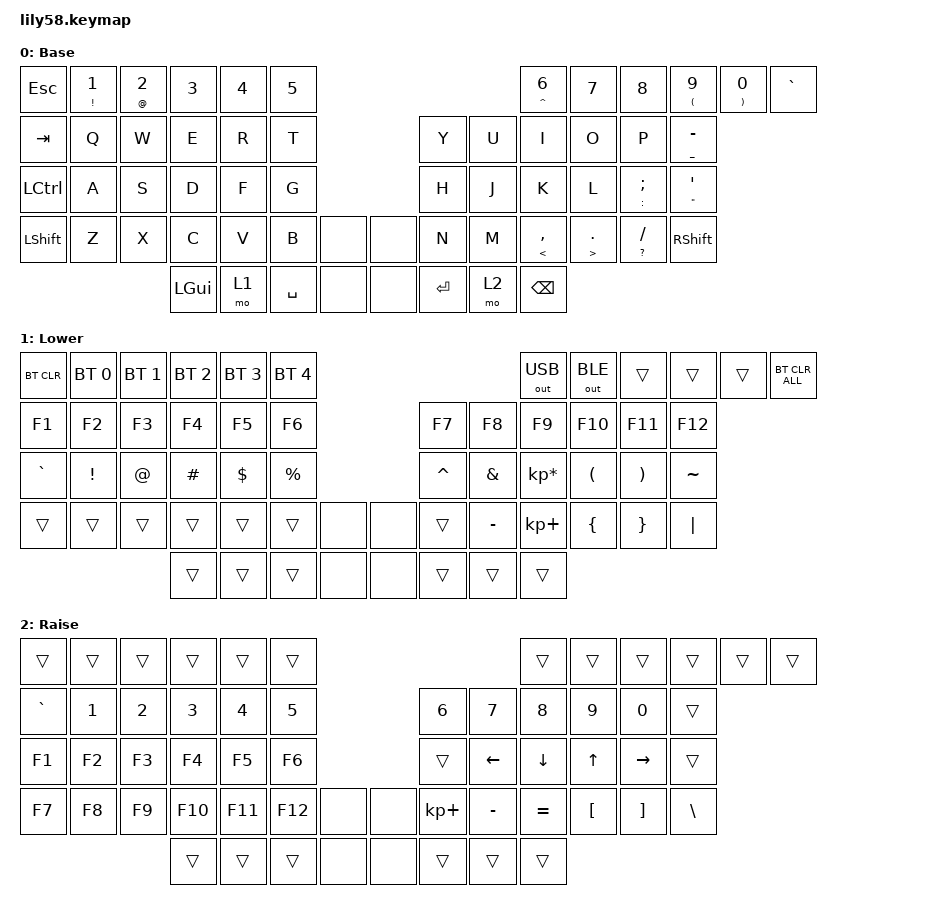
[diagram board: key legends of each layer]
/*
 * Copyright (c) 2020 The ZMK Contributors
 *
 * SPDX-License-Identifier: MIT
 */

#include <behaviors.dtsi>
#include <dt-bindings/zmk/keys.h>
#include <dt-bindings/zmk/bt.h>
#include <dt-bindings/zmk/ext_power.h>
#include <dt-bindings/zmk/outputs.h>

/ {
    behaviors {
        // 长按 250ms = shift 版本 (ZMK hold-tap 参数顺序: 第一个=长按, 第二个=点按)
        shift_hold: shift_hold {
            compatible = "zmk,behavior-hold-tap";
            label = "SHIFT_HOLD";
            #binding-cells = <2>;
            flavor = "tap-preferred";
            tapping-term-ms = <250>;
            bindings = <&kp>, <&kp>;
        };
    };

    keymap {
        compatible = "zmk,keymap";

        default_layer {
// ------------------------------------------------------------------------------------------------------------
// |  ESC  |  1  |  2  |  3   |  4   |  5   |                   |  6   |  7    |  8    |  9   |   0   |   `   |
// |  TAB  |  Q  |  W  |  E   |  R   |  T   |                   |  Y   |  U    |  I    |  O   |   P   |   -   |
// |  CTRL |  A  |  S  |  D   |  F   |  G   |                   |  H   |  J    |  K    |  L   |   ;   |   '   |
// | SHIFT |  Z  |  X  |  C   |  V   |  B   |  n/a   |  |  n/a  |  N   |  M    |  ,    |  .   |   /   | SHIFT |
//                     | GUI  | LOWER| SPACE|  n/a   |  |  n/a  | ENTER| RAISE | BSPC  |
// Note: Silakka54 has 54 keys - the 4 positions marked n/a are not present (inner thumb + encoder positions)
            display-name = "Base";
            bindings = <
&kp ESC   &shift_hold EXCL N1 &shift_hold AT N2 &kp N3   &kp N4 &kp N5                     &shift_hold CARET N6 &kp N7   &kp N8    &shift_hold LPAR N9 &shift_hold RPAR N0 &kp GRAVE
&kp TAB   &kp Q  &kp W  &kp E    &kp R  &kp T                      &kp Y   &kp U    &kp I     &kp O   &kp P    &shift_hold UNDER MINUS
&kp LCTRL &kp A  &kp S  &kp D    &kp F  &kp G                      &kp H   &kp J    &kp K     &kp L   &shift_hold COLON SEMI &shift_hold DQT SQT
&kp LSHFT &kp Z  &kp X  &kp C    &kp V  &kp B  &none     &none     &kp N   &kp M    &shift_hold LT COMMA &shift_hold GT DOT &shift_hold QUESTION FSLH &kp RSHFT
                        &kp LGUI &mo 1  &kp SPACE &none  &none     &kp RET &mo 2    &kp BSPC
            >;
        };

        lower_layer {
// ------------------------------------------------------------------------------------------------------------
// | BTCLR | BT1 | BT2 |  BT3 |  BT4 |  BT5 |                   | USB  | BLE   |       |      |       |BTCLRALL|
// |  F1   |  F2 |  F3 |  F4  |  F5  |  F6  |                   |  F7  |  F8   |  F9   |  F10 |  F11  |  F12  |
// |   `   |  !  |  @  |  #   |  $   |  %   |                   |  ^   |  &    |  *    |  (   |   )   |   ~   |
// |       |     |     |      |      |      |  n/a   |  |  n/a  |      |  _    |  +    |  {   |   }   |  "|"  |
//                     |      |      |      |  n/a   |  |  n/a  |      |       |       |
            display-name = "Lower";
            bindings = <
&bt BT_CLR &bt BT_SEL 0 &bt BT_SEL 1 &bt BT_SEL 2 &bt BT_SEL 3 &bt BT_SEL 4                 &out OUT_USB &out OUT_BLE &trans          &trans   &trans   &bt BT_CLR_ALL
&kp F1     &kp F2       &kp F3       &kp F4       &kp F5       &kp F6                       &kp F7       &kp F8       &kp F9          &kp F10  &kp F11  &kp F12
&kp GRAVE  &kp EXCL     &kp AT       &kp HASH     &kp DOLLAR   &kp PRCNT                    &kp CARET    &kp AMPS     &kp KP_MULTIPLY &kp LPAR &kp RPAR &kp TILDE
&trans     &trans       &trans       &trans       &trans       &trans    &none     &none   &trans       &kp MINUS    &kp KP_PLUS     &kp LBRC &kp RBRC &kp PIPE
                                     &trans       &trans       &trans    &none     &none   &trans       &trans       &trans
            >;
        };

        raise_layer {
// ------------------------------------------------------------------------------------------------------------
// |       |     |     |      |      |      |                   |      |       |       |      |       |       |
// |   `   |  1  |  2  |  3   |  4   |  5   |                   |  6   |   7   |   8   |  9   |   0   |       |
// |   F1  |  F2 |  F3 |  F4  |  F5  |  F6  |                   |      |   <-  |   v   |  ^   |  ->   |       |
// |   F7  |  F8 |  F9 |  F10 |  F11 |  F12 |  n/a   |  |  n/a  |  +   |   -   |   =   |  [   |   ]   |   \   |
//                     |      |      |      |  n/a   |  |  n/a  |      |       |       |
            display-name = "Raise";
            bindings = <
&trans    &trans &trans &trans  &trans  &trans                       &trans      &trans    &trans    &trans   &trans    &trans
&kp GRAVE &kp N1 &kp N2 &kp N3  &kp N4  &kp N5                       &kp N6      &kp N7    &kp N8    &kp N9   &kp N0    &trans
&kp F1    &kp F2 &kp F3 &kp F4  &kp F5  &kp F6                       &trans      &kp LEFT  &kp DOWN  &kp UP   &kp RIGHT &trans
&kp F7    &kp F8 &kp F9 &kp F10 &kp F11 &kp F12   &none     &none    &kp KP_PLUS &kp MINUS &kp EQUAL &kp LBKT &kp RBKT  &kp BSLH
                        &trans  &trans  &trans    &none     &none    &trans      &trans    &trans
            >;
        };

        extra_1 {
            status = "reserved";
        };

        extra_2 {
            status = "reserved";
        };

        extra_3 {
            status = "reserved";
        };
    };

    combos {
        compatible = "zmk,combos";

        // ENTER
        combo_0 {
            timeout-ms = <50>;
            key-positions = <22 23>;
            bindings = <&kp RET>;
        };

        // ` GRAVE
        combo_1 {
            timeout-ms = <50>;
            key-positions = <0 1>;
            bindings = <&kp GRAVE>;
        };

        // = EQUAL
        combo_2 {
            timeout-ms = <50>;
            key-positions = <9 10>;
            bindings = <&kp EQUAL>;
        };

        // ↑ UP
        combo_3 {
            timeout-ms = <50>;
            key-positions = <20 21>;
            bindings = <&kp UP>;
        };

        // ← LEFT
        combo_4 {
            timeout-ms = <50>;
            key-positions = <31 32>;
            bindings = <&kp LEFT>;
        };

        // → RIGHT
        combo_5 {
            timeout-ms = <50>;
            key-positions = <32 33>;
            bindings = <&kp RIGHT>;
        };

        // ↓ DOWN
        combo_6 {
            timeout-ms = <50>;
            key-positions = <46 47>;
            bindings = <&kp DOWN>;
        };
    };

};
